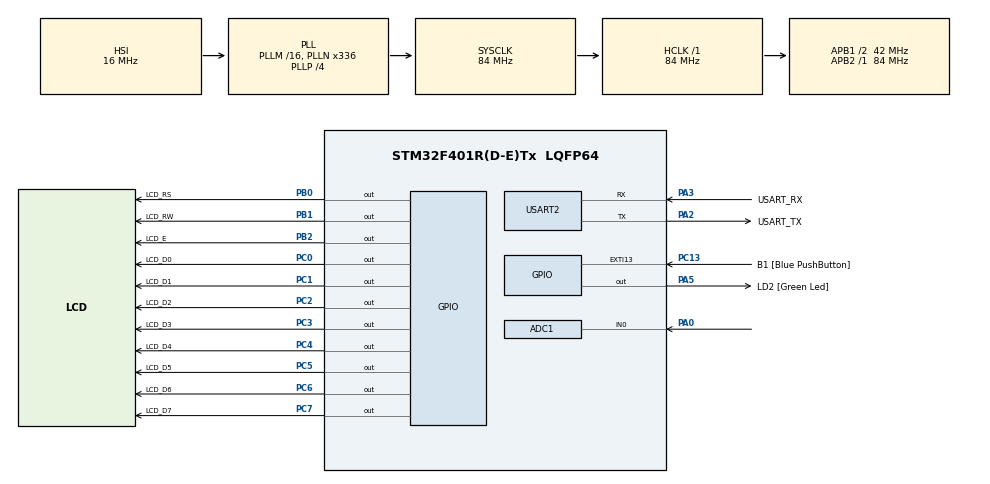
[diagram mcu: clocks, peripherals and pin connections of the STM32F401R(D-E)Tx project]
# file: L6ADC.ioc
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ADC1.Channel-0\#ChannelRegularConversion=ADC_CHANNEL_VREFINT
ADC1.Channel-1\#ChannelRegularConversion=ADC_CHANNEL_TEMPSENSOR
ADC1.Channel-2\#ChannelRegularConversion=ADC_CHANNEL_0
ADC1.ContinuousConvMode=ENABLE
ADC1.NbrOfConversion=3
ADC1.NbrOfConversionFlag=1
ADC1.Rank-0\#ChannelRegularConversion=1
ADC1.Rank-1\#ChannelRegularConversion=2
ADC1.Rank-2\#ChannelRegularConversion=3
ADC1.SamplingTime-0\#ChannelRegularConversion=ADC_SAMPLETIME_480CYCLES
ADC1.SamplingTime-1\#ChannelRegularConversion=ADC_SAMPLETIME_480CYCLES
ADC1.SamplingTime-2\#ChannelRegularConversion=ADC_SAMPLETIME_480CYCLES
ADC1.ScanConvMode=ENABLE
ADC1.master=1
Mcu.Family=STM32F4
Mcu.Name=STM32F401R(D-E)Tx
Mcu.Package=LQFP64
NVIC.ADC_IRQn=true\:0\:0\:false\:false\:true\:true
NVIC.PriorityGroup=NVIC_PRIORITYGROUP_0
NVIC.TIM1_TRG_COM_TIM11_IRQn=true\:0\:0\:false\:false\:true\:true
NVIC.TIM1_UP_TIM10_IRQn=true\:0\:0\:false\:false\:true\:true
PA0-WKUP.Signal=ADCx_IN0
PA13.GPIO_Label=TMS
PA13.Mode=Serial_Wire
PA13.Signal=SYS_JTMS-SWDIO
PA14.GPIO_Label=TCK
PA14.Mode=Serial_Wire
PA14.Signal=SYS_JTCK-SWCLK
PA2.GPIO_Label=USART_TX
PA2.GPIO_Mode=GPIO_MODE_AF_PP
PA2.GPIO_PuPd=GPIO_NOPULL
PA2.GPIO_Speed=GPIO_SPEED_FREQ_LOW
PA2.Mode=Asynchronous
PA2.Signal=USART2_TX
PA3.GPIO_Label=USART_RX
PA3.GPIO_Mode=GPIO_MODE_AF_PP
PA3.GPIO_PuPd=GPIO_NOPULL
PA3.GPIO_Speed=GPIO_SPEED_FREQ_LOW
PA3.Mode=Asynchronous
PA3.Signal=USART2_RX
PA5.GPIO_Label=LD2 [Green Led]
PA5.GPIO_Mode=GPIO_MODE_OUTPUT_PP
PA5.GPIO_PuPd=GPIO_NOPULL
PA5.GPIO_Speed=GPIO_SPEED_FREQ_LOW
PA5.Signal=GPIO_Output
PB0.GPIO_Label=LCD_RS
PB0.Signal=GPIO_Output
PB1.GPIO_Label=LCD_RW
PB1.Signal=GPIO_Output
PB2.GPIO_Label=LCD_E
PB2.Signal=GPIO_Output
PB3.GPIO_Label=SWO
PB3.Signal=SYS_JTDO-SWO
PC0.GPIO_Label=LCD_D0
PC0.Signal=GPIO_Output
PC1.GPIO_Label=LCD_D1
PC1.Signal=GPIO_Output
PC13-ANTI_TAMP.GPIO_Label=B1 [Blue PushButton]
PC13-ANTI_TAMP.GPIO_ModeDefaultEXTI=GPIO_MODE_IT_FALLING
PC13-ANTI_TAMP.GPIO_PuPd=GPIO_NOPULL
PC13-ANTI_TAMP.Signal=GPXTI13
PC14-OSC32_IN.Mode=LSE-External-Oscillator
PC14-OSC32_IN.Signal=RCC_OSC32_IN
PC15-OSC32_OUT.Mode=LSE-External-Oscillator
PC15-OSC32_OUT.Signal=RCC_OSC32_OUT
PC2.GPIO_Label=LCD_D2
PC2.Signal=GPIO_Output
PC3.GPIO_Label=LCD_D3
PC3.Signal=GPIO_Output
PC4.GPIO_Label=LCD_D4
PC4.Signal=GPIO_Output
PC5.GPIO_Label=LCD_D5
PC5.Signal=GPIO_Output
PC6.GPIO_Label=LCD_D6
PC6.Signal=GPIO_Output
PC7.GPIO_Label=LCD_D7
PC7.Signal=GPIO_Output
PH0\ -\ OSC_IN.Mode=HSE-External-Clock-Source
PH0\ -\ OSC_IN.Signal=RCC_OSC_IN
PH1\ -\ OSC_OUT.Mode=HSE-External-Clock-Source
PH1\ -\ OSC_OUT.Signal=RCC_OSC_OUT
ProjectManager.HeapSize=0x200
ProjectManager.StackSize=0x400
ProjectManager.TargetToolchain=TrueSTUDIO
RCC.48MHZClocksFreq_Value=48000000
RCC.AHBFreq_Value=84000000
RCC.APB1CLKDivider=RCC_HCLK_DIV2
RCC.APB1Freq_Value=42000000
RCC.APB1TimFreq_Value=84000000
RCC.APB2Freq_Value=84000000
RCC.APB2TimFreq_Value=84000000
RCC.CortexFreq_Value=84000000
RCC.HCLKFreq_Value=84000000
RCC.HSE_VALUE=8000000
RCC.HSI_VALUE=16000000
RCC.PLLN=336
RCC.PLLP=RCC_PLLP_DIV4
RCC.PLLQ=7
RCC.SYSCLKFreq_VALUE=84000000
RCC.SYSCLKSource=RCC_SYSCLKSOURCE_PLLCLK
RCC.VCOOutputFreq_Value=336000000
SH.ADCx_IN0.0=ADC1_IN0,IN0
TIM10.Period=49999
TIM10.Prescaler=15
TIM11.Period=79
USART2.VirtualMode=VM_ASYNC
VP_ADC1_TempSens_Input.Mode=IN-TempSens
VP_ADC1_Vref_Input.Mode=IN-Vrefint
VP_TIM10_VS_ClockSourceINT.Mode=Enable_Timer
VP_TIM11_VS_ClockSourceINT.Mode=Enable_Timer
board=NUCLEO-F401RE

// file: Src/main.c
/**
  ******************************************************************************
  * @file           : main.c
  * @brief          : Main program body
  ******************************************************************************
  ** This notice applies to any and all portions of this file
  * that are not between comment pairs USER CODE BEGIN and
  * USER CODE END. Other portions of this file, whether
  * inserted by the user or by software development tools
  * are owned by their respective copyright owners.
  *
  * COPYRIGHT(c) 2018 STMicroelectronics
  *
  * Redistribution and use in source and binary forms, with or without modification,
  * are permitted provided that the following conditions are met:
  *   1. Redistributions of source code must retain the above copyright notice,
  *      this list of conditions and the following disclaimer.
  *   2. Redistributions in binary form must reproduce the above copyright notice,
  *      this list of conditions and the following disclaimer in the documentation
  *      and/or other materials provided with the distribution.
  *   3. Neither the name of STMicroelectronics nor the names of its contributors
  *      may be used to endorse or promote products derived from this software
  *      without specific prior written permission.
  *
  * THIS SOFTWARE IS PROVIDED BY THE COPYRIGHT HOLDERS AND CONTRIBUTORS "AS IS"
  * AND ANY EXPRESS OR IMPLIED WARRANTIES, INCLUDING, BUT NOT LIMITED TO, THE
  * IMPLIED WARRANTIES OF MERCHANTABILITY AND FITNESS FOR A PARTICULAR PURPOSE ARE
  * DISCLAIMED. IN NO EVENT SHALL THE COPYRIGHT HOLDER OR CONTRIBUTORS BE LIABLE
  * FOR ANY DIRECT, INDIRECT, INCIDENTAL, SPECIAL, EXEMPLARY, OR CONSEQUENTIAL
  * DAMAGES (INCLUDING, BUT NOT LIMITED TO, PROCUREMENT OF SUBSTITUTE GOODS OR
  * SERVICES; LOSS OF USE, DATA, OR PROFITS; OR BUSINESS INTERRUPTION) HOWEVER
  * CAUSED AND ON ANY THEORY OF LIABILITY, WHETHER IN CONTRACT, STRICT LIABILITY,
  * OR TORT (INCLUDING NEGLIGENCE OR OTHERWISE) ARISING IN ANY WAY OUT OF THE USE
  * OF THIS SOFTWARE, EVEN IF ADVISED OF THE POSSIBILITY OF SUCH DAMAGE.
  *
  ******************************************************************************
  */
#include "main.h"
#include "stm32f4xx_hal.h"
#include "LCDHelper.h"
#include <stdio.h>
#include <stdlib.h>
#include <math.h>

ADC_HandleTypeDef hadc1;

TIM_HandleTypeDef htim10;
TIM_HandleTypeDef htim11;

UART_HandleTypeDef huart2;

/* USER CODE BEGIN PV */
/* Private variables ---------------------------------------------------------*/

/* USER CODE END PV */

void SystemClock_Config(void);
static void MX_GPIO_Init(void);
static void MX_USART2_UART_Init(void);
static void MX_TIM10_Init(void);
static void MX_TIM11_Init(void);
static void MX_ADC1_Init(void);

/* USER CODE BEGIN PFP */
/* Private function prototypes -----------------------------------------------*/

/* USER CODE END PFP */

/* USER CODE BEGIN 0 */
void HAL_ADC_ConvCpltCallback(ADC_HandleTypeDef* AdcHandle);
TextLCDType lcd;

int flag = 0;
int rankCount = 0;

#define VREFIN_CAL_ADDR ((uint16_t*)((uint32_t) 0x1FFF7A2A)) // Från tabell 76 i databladet
#define TS_CAL30_ADDR ((uint16_t*)((uint32_t) 0x1FFF7A2C)) // TS_CAL1 från tabell 73 i databladet
#define TS_CAL110_ADDR    ((uint16_t*)((uint32_t) 0x1FFF7A2E)) // TS_CAL2 från tabell 73 i databladet

uint32_t vrefData = 0;
uint32_t tsData = 0;
uint32_t tempData = 0;
uint32_t intTemp = 0;
uint32_t termTemp = 0;
uint32_t vrefCalc = 0;

void printData();
void printNumber(uint32_t integer);

/* USER CODE END 0 */

int main(void)
{

  /* MCU Configuration----------------------------------------------------------*/

  /* Reset of all peripherals, Initializes the Flash interface and the Systick. */
  HAL_Init();

  /* Configure the system clock */
  SystemClock_Config();

  /* Initialize all configured peripherals */
  MX_GPIO_Init();
  MX_USART2_UART_Init();
  MX_TIM10_Init();
  MX_TIM11_Init();
  MX_ADC1_Init();
  /* USER CODE BEGIN 2 */

  TextLCD_Init(&lcd,GPIOB, LCD_RS_Pin,LCD_RW_Pin, LCD_E_Pin, GPIOC, ( LCD_D0_Pin | LCD_D1_Pin |
		  LCD_D2_Pin | LCD_D3_Pin | LCD_D4_Pin | LCD_D5_Pin | LCD_D6_Pin | LCD_D7_Pin));

  HAL_ADC_Start_IT(&hadc1);

  /* USER CODE END 2 */

  /* Infinite loop */
  /* USER CODE BEGIN WHILE */
  while (1)
  {
	  printData();

  /* USER CODE END WHILE */

  }

}

void HAL_ADC_ConvCpltCallback(ADC_HandleTypeDef* AdcHandle){
	if (__HAL_ADC_GET_FLAG(AdcHandle, ADC_FLAG_EOC)){
		if(rankCount == 0){
			//rank 1

			vrefData = HAL_ADC_GetValue(&hadc1);

			rankCount++;

		}else if(rankCount == 1){
			//rank 2

			tsData = HAL_ADC_GetValue(&hadc1);

			rankCount++;
		}else if(rankCount == 2){
			//rank 3

			tempData = HAL_ADC_GetValue(&hadc1);

			rankCount = 0;
		}
	}

}

void printData(){

	intTemp = (uint32_t) (80/(*TS_CAL30_ADDR-*TS_CAL110_ADDR))*(tsData - *TS_CAL30_ADDR) + 30;

	TextLCD_Position(&lcd, 0, 0);
	TextLCD_Puts(&lcd, "TS:");
	printNumber(intTemp);

	termTemp = (uint32_t) (tempData * 0.012 - 10.5);

	TextLCD_Position(&lcd, 0, 1);
	TextLCD_Puts(&lcd, "Temp:");
	printNumber(termTemp);

}

void printNumber(uint32_t number){

	int n = log10(number) + 1;
	int i;
	char numberArray[n];
	for ( i = 0; i < n; ++i, number /= 10 ){
		numberArray[i] = (0x30+(number % 10));
	}
	for(int x = n-1; x >= 0; x--)
		TextLCD_Putchar(&lcd, numberArray[x]);
}

void SystemClock_Config(void)
{

  RCC_OscInitTypeDef RCC_OscInitStruct;
  RCC_ClkInitTypeDef RCC_ClkInitStruct;

    /**Configure the main internal regulator output voltage
    */
  __HAL_RCC_PWR_CLK_ENABLE();

  __HAL_PWR_VOLTAGESCALING_CONFIG(PWR_REGULATOR_VOLTAGE_SCALE2);

    /**Initializes the CPU, AHB and APB busses clocks
    */
  RCC_OscInitStruct.OscillatorType = RCC_OSCILLATORTYPE_HSI;
  RCC_OscInitStruct.HSIState = RCC_HSI_ON;
  RCC_OscInitStruct.HSICalibrationValue = 16;
  RCC_OscInitStruct.PLL.PLLState = RCC_PLL_ON;
  RCC_OscInitStruct.PLL.PLLSource = RCC_PLLSOURCE_HSI;
  RCC_OscInitStruct.PLL.PLLM = 16;
  RCC_OscInitStruct.PLL.PLLN = 336;
  RCC_OscInitStruct.PLL.PLLP = RCC_PLLP_DIV4;
  RCC_OscInitStruct.PLL.PLLQ = 7;
  if (HAL_RCC_OscConfig(&RCC_OscInitStruct) != HAL_OK)
  {
    _Error_Handler(__FILE__, __LINE__);
  }

    /**Initializes the CPU, AHB and APB busses clocks
    */
  RCC_ClkInitStruct.ClockType = RCC_CLOCKTYPE_HCLK|RCC_CLOCKTYPE_SYSCLK
                              |RCC_CLOCKTYPE_PCLK1|RCC_CLOCKTYPE_PCLK2;
  RCC_ClkInitStruct.SYSCLKSource = RCC_SYSCLKSOURCE_PLLCLK;
  RCC_ClkInitStruct.AHBCLKDivider = RCC_SYSCLK_DIV1;
  RCC_ClkInitStruct.APB1CLKDivider = RCC_HCLK_DIV2;
  RCC_ClkInitStruct.APB2CLKDivider = RCC_HCLK_DIV1;

  if (HAL_RCC_ClockConfig(&RCC_ClkInitStruct, FLASH_LATENCY_2) != HAL_OK)
  {
    _Error_Handler(__FILE__, __LINE__);
  }

    /**Configure the Systick interrupt time
    */
  HAL_SYSTICK_Config(HAL_RCC_GetHCLKFreq()/1000);

    /**Configure the Systick
    */
  HAL_SYSTICK_CLKSourceConfig(SYSTICK_CLKSOURCE_HCLK);

  /* SysTick_IRQn interrupt configuration */
  HAL_NVIC_SetPriority(SysTick_IRQn, 0, 0);
}

/* ADC1 init function */
static void MX_ADC1_Init(void)
{

  ADC_ChannelConfTypeDef sConfig;

    /**Configure the global features of the ADC (Clock, Resolution, Data Alignment and number of conversion)
    */
  hadc1.Instance = ADC1;
  hadc1.Init.ClockPrescaler = ADC_CLOCK_SYNC_PCLK_DIV4;
  hadc1.Init.Resolution = ADC_RESOLUTION_12B;
  hadc1.Init.ScanConvMode = ENABLE;
  hadc1.Init.ContinuousConvMode = ENABLE;
  hadc1.Init.DiscontinuousConvMode = DISABLE;
  hadc1.Init.ExternalTrigConvEdge = ADC_EXTERNALTRIGCONVEDGE_NONE;
  hadc1.Init.ExternalTrigConv = ADC_SOFTWARE_START;
  hadc1.Init.DataAlign = ADC_DATAALIGN_RIGHT;
  hadc1.Init.NbrOfConversion = 3;
  hadc1.Init.DMAContinuousRequests = DISABLE;
  hadc1.Init.EOCSelection = ADC_EOC_SINGLE_CONV;
  if (HAL_ADC_Init(&hadc1) != HAL_OK)
  {
    _Error_Handler(__FILE__, __LINE__);
  }

    /**Configure for the selected ADC regular channel its corresponding rank in the sequencer and its sample time.
    */
  sConfig.Channel = ADC_CHANNEL_VREFINT;
  sConfig.Rank = 1;
  sConfig.SamplingTime = ADC_SAMPLETIME_480CYCLES;
  if (HAL_ADC_ConfigChannel(&hadc1, &sConfig) != HAL_OK)
  {
    _Error_Handler(__FILE__, __LINE__);
  }

    /**Configure for the selected ADC regular channel its corresponding rank in the sequencer and its sample time.
    */
  sConfig.Channel = ADC_CHANNEL_TEMPSENSOR;
  sConfig.Rank = 2;
  if (HAL_ADC_ConfigChannel(&hadc1, &sConfig) != HAL_OK)
  {
    _Error_Handler(__FILE__, __LINE__);
  }

    /**Configure for the selected ADC regular channel its corresponding rank in the sequencer and its sample time.
    */
  sConfig.Channel = ADC_CHANNEL_0;
  sConfig.Rank = 3;
  if (HAL_ADC_ConfigChannel(&hadc1, &sConfig) != HAL_OK)
  {
    _Error_Handler(__FILE__, __LINE__);
  }

}

/* TIM10 init function */
static void MX_TIM10_Init(void)
{

  htim10.Instance = TIM10;
  htim10.Init.Prescaler = 15;
  htim10.Init.CounterMode = TIM_COUNTERMODE_UP;
  htim10.Init.Period = 49999;
  htim10.Init.ClockDivision = TIM_CLOCKDIVISION_DIV1;
  if (HAL_TIM_Base_Init(&htim10) != HAL_OK)
  {
    _Error_Handler(__FILE__, __LINE__);
  }

}

/* TIM11 init function */
static void MX_TIM11_Init(void)
{

  htim11.Instance = TIM11;
  htim11.Init.Prescaler = 0;
  htim11.Init.CounterMode = TIM_COUNTERMODE_UP;
  htim11.Init.Period = 79;
  htim11.Init.ClockDivision = TIM_CLOCKDIVISION_DIV1;
  if (HAL_TIM_Base_Init(&htim11) != HAL_OK)
  {
    _Error_Handler(__FILE__, __LINE__);
  }

}

/* USART2 init function */
static void MX_USART2_UART_Init(void)
{

  huart2.Instance = USART2;
  huart2.Init.BaudRate = 115200;
  huart2.Init.WordLength = UART_WORDLENGTH_8B;
  huart2.Init.StopBits = UART_STOPBITS_1;
  huart2.Init.Parity = UART_PARITY_NONE;
  huart2.Init.Mode = UART_MODE_TX_RX;
  huart2.Init.HwFlowCtl = UART_HWCONTROL_NONE;
  huart2.Init.OverSampling = UART_OVERSAMPLING_16;
  if (HAL_UART_Init(&huart2) != HAL_OK)
  {
    _Error_Handler(__FILE__, __LINE__);
  }

}

/** Configure pins as
        * Analog
        * Input
        * Output
        * EVENT_OUT
        * EXTI
*/
static void MX_GPIO_Init(void)
{

  GPIO_InitTypeDef GPIO_InitStruct;

  /* GPIO Ports Clock Enable */
  __HAL_RCC_GPIOC_CLK_ENABLE();
  __HAL_RCC_GPIOH_CLK_ENABLE();
  __HAL_RCC_GPIOA_CLK_ENABLE();
  __HAL_RCC_GPIOB_CLK_ENABLE();

  /*Configure GPIO pin Output Level */
  HAL_GPIO_WritePin(GPIOC, LCD_D0_Pin|LCD_D1_Pin|LCD_D2_Pin|LCD_D3_Pin
                          |LCD_D4_Pin|LCD_D5_Pin|LCD_D6_Pin|LCD_D7_Pin, GPIO_PIN_RESET);

  /*Configure GPIO pin Output Level */
  HAL_GPIO_WritePin(LD2_GPIO_Port, LD2_Pin, GPIO_PIN_RESET);

  /*Configure GPIO pin Output Level */
  HAL_GPIO_WritePin(GPIOB, LCD_RS_Pin|LCD_RW_Pin|LCD_E_Pin, GPIO_PIN_RESET);

  /*Configure GPIO pin : B1_Pin */
  GPIO_InitStruct.Pin = B1_Pin;
  GPIO_InitStruct.Mode = GPIO_MODE_IT_FALLING;
  GPIO_InitStruct.Pull = GPIO_NOPULL;
  HAL_GPIO_Init(B1_GPIO_Port, &GPIO_InitStruct);

  /*Configure GPIO pins : LCD_D0_Pin LCD_D1_Pin LCD_D2_Pin LCD_D3_Pin
                           LCD_D4_Pin LCD_D5_Pin LCD_D6_Pin LCD_D7_Pin */
  GPIO_InitStruct.Pin = LCD_D0_Pin|LCD_D1_Pin|LCD_D2_Pin|LCD_D3_Pin
                          |LCD_D4_Pin|LCD_D5_Pin|LCD_D6_Pin|LCD_D7_Pin;
  GPIO_InitStruct.Mode = GPIO_MODE_OUTPUT_PP;
  GPIO_InitStruct.Pull = GPIO_NOPULL;
  GPIO_InitStruct.Speed = GPIO_SPEED_FREQ_LOW;
  HAL_GPIO_Init(GPIOC, &GPIO_InitStruct);

  /*Configure GPIO pin : LD2_Pin */
  GPIO_InitStruct.Pin = LD2_Pin;
  GPIO_InitStruct.Mode = GPIO_MODE_OUTPUT_PP;
  GPIO_InitStruct.Pull = GPIO_NOPULL;
  GPIO_InitStruct.Speed = GPIO_SPEED_FREQ_LOW;
  HAL_GPIO_Init(LD2_GPIO_Port, &GPIO_InitStruct);

  /*Configure GPIO pins : LCD_RS_Pin LCD_RW_Pin LCD_E_Pin */
  GPIO_InitStruct.Pin = LCD_RS_Pin|LCD_RW_Pin|LCD_E_Pin;
  GPIO_InitStruct.Mode = GPIO_MODE_OUTPUT_PP;
  GPIO_InitStruct.Pull = GPIO_NOPULL;
  GPIO_InitStruct.Speed = GPIO_SPEED_FREQ_LOW;
  HAL_GPIO_Init(GPIOB, &GPIO_InitStruct);

}

void _Error_Handler(char *file, int line)
{
  while(1)
  {
  }
}

/************************ (C) COPYRIGHT STMicroelectronics *****END OF FILE****/
